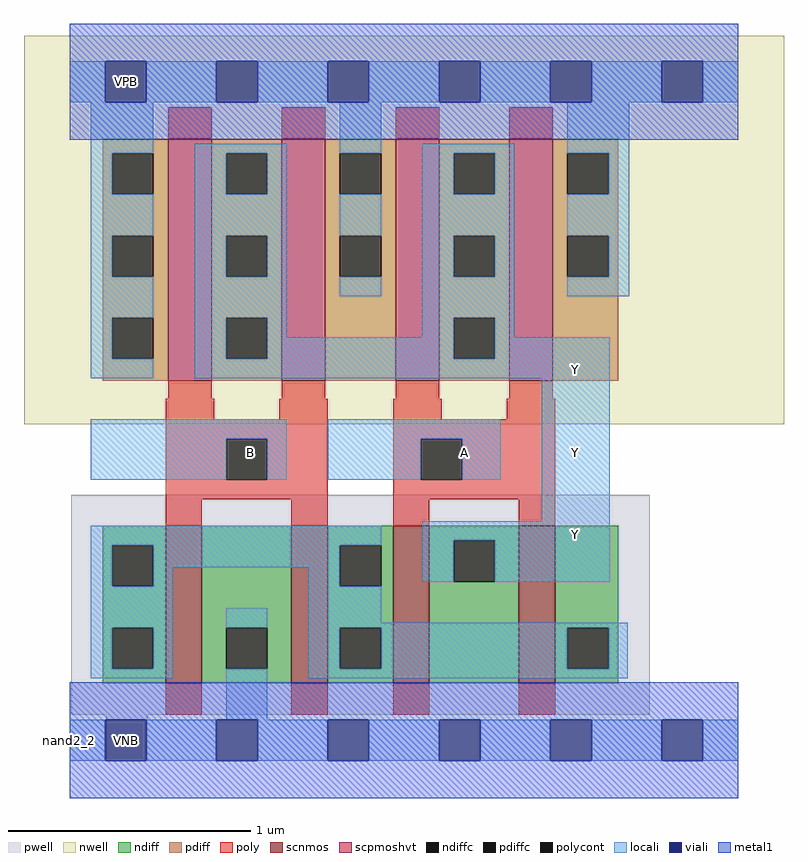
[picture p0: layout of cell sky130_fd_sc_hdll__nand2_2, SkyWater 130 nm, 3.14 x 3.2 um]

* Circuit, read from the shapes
.subckt sky130_fd_sc_hdll__nand2_2 A B VGND VNB VPB VPWR Y
XM1 VGND B n1 VNB sky130_fd_pr__nfet_01v8 w=0.65 l=0.15 m=2
XM2 Y A n1 VNB sky130_fd_pr__nfet_01v8 w=0.65 l=0.15 m=2
XM3 Y B VPWR VPB sky130_fd_pr__pfet_01v8_hvt w=1 l=0.18 m=2
XM4 Y A VPWR VPB sky130_fd_pr__pfet_01v8_hvt w=1 l=0.18 m=2
.ends

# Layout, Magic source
magic
tech sky130A
magscale 1 2
<< nwell >>
rect -38 261 590 582
<< pwell >>
rect 1 21 479 203
rect 30 -17 64 21
<< scnmos >>
rect 79 47 109 177
rect 183 47 213 177
rect 267 47 297 177
rect 371 47 401 177
<< scpmoshvt >>
rect 81 297 117 497
rect 175 297 211 497
rect 269 297 305 497
rect 363 297 399 497
<< ndiff >>
rect 27 161 79 177
rect 27 127 35 161
rect 69 127 79 161
rect 27 93 79 127
rect 27 59 35 93
rect 69 59 79 93
rect 27 47 79 59
rect 109 93 183 177
rect 109 59 129 93
rect 163 59 183 93
rect 109 47 183 59
rect 213 161 267 177
rect 213 127 223 161
rect 257 127 267 161
rect 213 93 267 127
rect 213 59 223 93
rect 257 59 267 93
rect 213 47 267 59
rect 297 165 371 177
rect 297 131 317 165
rect 351 131 371 165
rect 297 47 371 131
rect 401 93 453 177
rect 401 59 411 93
rect 445 59 453 93
rect 401 47 453 59
<< pdiff >>
rect 27 485 81 497
rect 27 451 35 485
rect 69 451 81 485
rect 27 417 81 451
rect 27 383 35 417
rect 69 383 81 417
rect 27 349 81 383
rect 27 315 35 349
rect 69 315 81 349
rect 27 297 81 315
rect 117 485 175 497
rect 117 451 129 485
rect 163 451 175 485
rect 117 417 175 451
rect 117 383 129 417
rect 163 383 175 417
rect 117 349 175 383
rect 117 315 129 349
rect 163 315 175 349
rect 117 297 175 315
rect 211 485 269 497
rect 211 451 223 485
rect 257 451 269 485
rect 211 417 269 451
rect 211 383 223 417
rect 257 383 269 417
rect 211 297 269 383
rect 305 485 363 497
rect 305 451 317 485
rect 351 451 363 485
rect 305 417 363 451
rect 305 383 317 417
rect 351 383 363 417
rect 305 349 363 383
rect 305 315 317 349
rect 351 315 363 349
rect 305 297 363 315
rect 399 485 453 497
rect 399 451 411 485
rect 445 451 453 485
rect 399 417 453 451
rect 399 383 411 417
rect 445 383 453 417
rect 399 297 453 383
<< ndiffc >>
rect 35 127 69 161
rect 35 59 69 93
rect 129 59 163 93
rect 223 127 257 161
rect 223 59 257 93
rect 317 131 351 165
rect 411 59 445 93
<< pdiffc >>
rect 35 451 69 485
rect 35 383 69 417
rect 35 315 69 349
rect 129 451 163 485
rect 129 383 163 417
rect 129 315 163 349
rect 223 451 257 485
rect 223 383 257 417
rect 317 451 351 485
rect 317 383 351 417
rect 317 315 351 349
rect 411 451 445 485
rect 411 383 445 417
<< poly >>
rect 81 497 117 523
rect 175 497 211 523
rect 269 497 305 523
rect 363 497 399 523
rect 81 282 117 297
rect 175 282 211 297
rect 269 282 305 297
rect 363 282 399 297
rect 79 265 119 282
rect 173 265 213 282
rect 79 249 213 265
rect 79 215 129 249
rect 163 215 213 249
rect 79 199 213 215
rect 79 177 109 199
rect 183 177 213 199
rect 267 265 307 282
rect 361 265 401 282
rect 267 249 401 265
rect 267 215 290 249
rect 324 215 401 249
rect 267 199 401 215
rect 267 177 297 199
rect 371 177 401 199
rect 79 21 109 47
rect 183 21 213 47
rect 267 21 297 47
rect 371 21 401 47
<< polycont >>
rect 129 215 163 249
rect 290 215 324 249
<< locali >>
rect 0 527 29 561
rect 63 527 121 561
rect 155 527 213 561
rect 247 527 305 561
rect 339 527 397 561
rect 431 527 489 561
rect 523 527 552 561
rect 17 485 69 527
rect 17 451 35 485
rect 17 417 69 451
rect 17 383 35 417
rect 17 349 69 383
rect 17 315 35 349
rect 17 299 69 315
rect 103 485 179 493
rect 103 451 129 485
rect 163 451 179 485
rect 103 417 179 451
rect 103 383 129 417
rect 163 383 179 417
rect 103 349 179 383
rect 223 485 257 527
rect 223 417 257 451
rect 223 367 257 383
rect 291 485 367 493
rect 291 451 317 485
rect 351 451 367 485
rect 291 417 367 451
rect 291 383 317 417
rect 351 383 367 417
rect 103 315 129 349
rect 163 333 179 349
rect 291 349 367 383
rect 411 485 462 527
rect 445 451 462 485
rect 411 417 462 451
rect 445 383 462 417
rect 411 367 462 383
rect 291 333 317 349
rect 163 315 317 333
rect 351 333 367 349
rect 351 315 446 333
rect 103 299 446 315
rect 17 249 179 265
rect 17 215 129 249
rect 163 215 179 249
rect 213 249 356 265
rect 213 215 290 249
rect 324 215 356 249
rect 390 181 446 299
rect 17 161 257 177
rect 17 127 35 161
rect 69 143 223 161
rect 69 127 85 143
rect 17 93 85 127
rect 197 127 223 143
rect 291 165 446 181
rect 291 131 317 165
rect 351 131 446 165
rect 17 59 35 93
rect 69 59 85 93
rect 17 51 85 59
rect 129 93 163 109
rect 129 17 163 59
rect 197 97 257 127
rect 197 93 461 97
rect 197 59 223 93
rect 257 59 411 93
rect 445 59 461 93
rect 197 51 461 59
rect 0 -17 29 17
rect 63 -17 121 17
rect 155 -17 213 17
rect 247 -17 305 17
rect 339 -17 397 17
rect 431 -17 489 17
rect 523 -17 552 17
<< viali >>
rect 29 527 63 561
rect 121 527 155 561
rect 213 527 247 561
rect 305 527 339 561
rect 397 527 431 561
rect 489 527 523 561
rect 29 -17 63 17
rect 121 -17 155 17
rect 213 -17 247 17
rect 305 -17 339 17
rect 397 -17 431 17
rect 489 -17 523 17
<< metal1 >>
rect 0 561 552 592
rect 0 527 29 561
rect 63 527 121 561
rect 155 527 213 561
rect 247 527 305 561
rect 339 527 397 561
rect 431 527 489 561
rect 523 527 552 561
rect 0 496 552 527
rect 0 17 552 48
rect 0 -17 29 17
rect 63 -17 121 17
rect 155 -17 213 17
rect 247 -17 305 17
rect 339 -17 397 17
rect 431 -17 489 17
rect 523 -17 552 17
rect 0 -48 552 -17
<< labels >>
flabel locali s 401 153 435 187 0 FreeSans 250 0 0 0 Y
port 7 nsew signal output
flabel locali s 401 221 435 255 0 FreeSans 250 0 0 0 Y
port 7 nsew signal output
flabel locali s 401 289 435 323 0 FreeSans 250 0 0 0 Y
port 7 nsew signal output
flabel locali s 309 221 343 255 0 FreeSans 250 0 0 0 A
port 1 nsew signal input
flabel locali s 132 221 166 255 0 FreeSans 250 0 0 0 B
port 2 nsew signal input
flabel nwell s 30 527 64 561 0 FreeSans 200 0 0 0 VPB
port 5 nsew power bidirectional
flabel pwell s 30 -17 64 17 0 FreeSans 200 0 0 0 VNB
port 4 nsew ground bidirectional
flabel metal1 s 30 -17 64 17 0 FreeSans 200 0 0 0 VGND
port 3 nsew ground bidirectional
flabel metal1 s 30 527 64 561 0 FreeSans 200 0 0 0 VPWR
port 6 nsew power bidirectional
rlabel comment s 0 0 0 0 4 nand2_2
<< properties >>
string LEFsite unithd
string LEFclass CORE
string FIXED_BBOX 0 0 552 544
string GDS_FILE $PDKPATH/libs.ref/sky130_fd_sc_hdll/gds/sky130_fd_sc_hdll.gds
string LEFsymmetry X Y R90
string GDS_END 2181668
string GDS_START 2176416
string LEFproperties maskLayoutSubType "abstract" prCellType "standard" originalViewName "layout"
<< end >>
